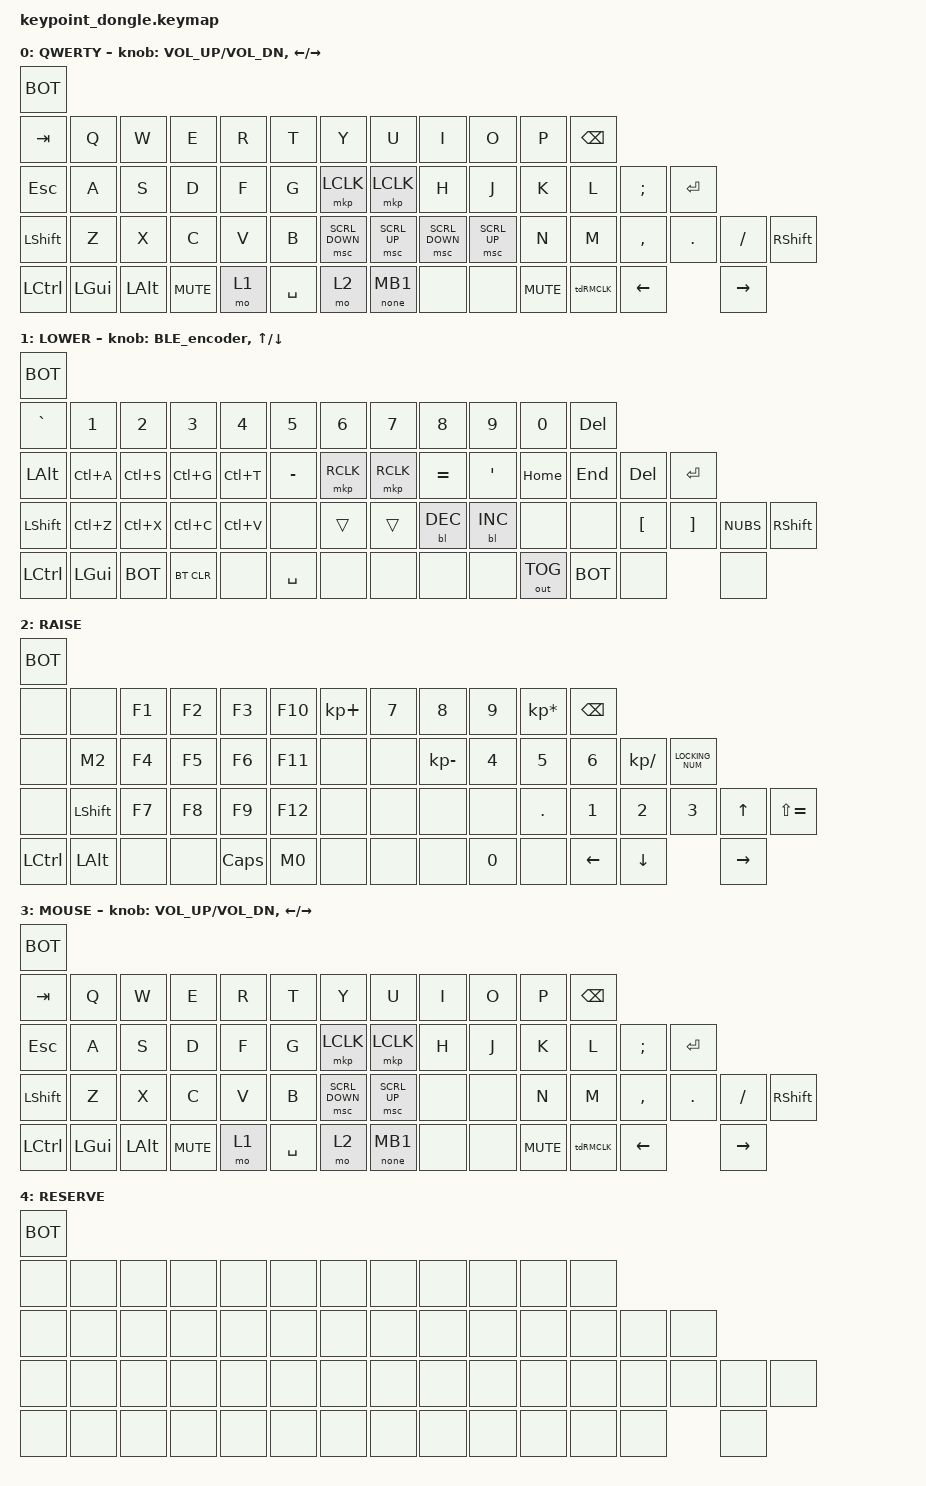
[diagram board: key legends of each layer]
/*
 * Copyright (c) 2025 ZitaoTech
 *
 * SPDX-License-Identifier: MIT
 */

#include <dt-bindings/zmk/mouse.h>
#include <behaviors/mouse_key_toggle.dtsi> // for &mktg
#include <behaviors.dtsi>
#include <dt-bindings/zmk/backlight.h>
#include <dt-bindings/zmk/bt.h>
#include <dt-bindings/zmk/keys.h>
#include <dt-bindings/zmk/outputs.h>
#include <dt-bindings/zmk/pointing.h>

#define LOWER 1
#define RAISE 2
#define MOUSE 3
#define BOT bootloader

/ {
    input_processors {
        zip_temp_layer: zip_temp_layer {
            compatible = "zmk,input-processor-temp-layer";
            #input-processor-cells = <2>;
        };

        ip_behaviors0: ip_behaviors0 {
            compatible = "zmk,input-processor-behaviors";
            #input-processor-cells = <0>;
            type = <INPUT_EV_KEY>;
            codes = <INPUT_BTN_0>;
            bindings = <&kp RIGHT>;
        };

        ip_behaviors1: ip_behaviors1 {
            compatible = "zmk,input-processor-behaviors";
            #input-processor-cells = <0>;
            type = <INPUT_EV_KEY>;
            codes = <INPUT_BTN_1>;
            bindings = <&kp LEFT>;
        };

        ip_behaviors2: ip_behaviors2 {
            compatible = "zmk,input-processor-behaviors";
            #input-processor-cells = <0>;
            type = <INPUT_EV_KEY>;
            codes = <INPUT_BTN_2>;
            bindings = <&kp DOWN>;
        };

        ip_behaviors3: ip_behaviors3 {
            compatible = "zmk,input-processor-behaviors";
            #input-processor-cells = <0>;
            type = <INPUT_EV_KEY>;
            codes = <INPUT_BTN_3>;
            bindings = <&kp UP>;
        };
    };
};

/ {
    behaviors {
        td0: tap_dance_0 {
            compatible = "zmk,behavior-tap-dance";
            #binding-cells = <0>;
            tapping-term-ms = <400>;
            bindings = <&mkp LCLK>, <&bt BT_CLR>;
        };
    };

    behaviors {
        tdRMCLK: tap_dance_R_LMouse {
            compatible = "zmk,behavior-tap-dance";
            #binding-cells = <0>;
            tapping-term-ms = <400>;
            bindings = <&mkp RCLK>, <&mkp MCLK>;
        };
    };

    behaviors {
        hm: homerow_mods {
            compatible = "zmk,behavior-hold-tap";
            #binding-cells = <2>;
            tapping-term-ms = <500>;
            bindings = <&kp &kp>;
        };
    };

    behaviors {
        LMouse_sc: behavior_LMouse_Scroll {
            compatible = "zmk,behavior-hold-tap";
            #binding-cells = <2>;
            flavor = "tap-preferred";     /* 单击优先 */
            tapping-term-ms = <200>;       /* 长按阈值 */
            bindings = <&none &mkp>;        /* hold=none, tap=Lmouse */
        };
    };

    behaviors {
        M_kp: behavior_mouse_keypress {
            compatible = "zmk,behavior-hold-tap";
            #binding-cells = <2>;
            flavor = "tap-preferred";     /* 单击优先 */
            tapping-term-ms = <200>;       /* 长按阈值 */
            bindings = <&mkp &kp>;        /* hold=mou key press, tap=key*/
        };
    };

    behaviors {
        BLE_encoder: BLE_encoder {
            compatible = "zmk,behavior-sensor-rotate";
            #sensor-binding-cells = <0>;
            bindings = <&bt BT_NXT>, <&bt BT_PRV>;
        };
    };

    macros {
        M0: M0 {
            compatible = "zmk,behavior-macro";
            #binding-cells = <0>;
            bindings = <&kp X &kp U &kp E &kp NUMBER_1 &kp NUMBER_1 &kp N9 &kp N9 &kp NUMBER_2 &kp NUMBER_4 &kp N5>;
            label = "M0";
        };

        M2: M2 {
            compatible = "zmk,behavior-macro";
            #binding-cells = <0>;
            bindings = <&kp HOME &kp ENTER &kp ENTER &kp UP_ARROW &kp UP_ARROW>;
            label = "M2";
        };
    };

    keymap {
        compatible = "zmk,keymap";

        default_layer {
            display-name = "QWERTY";
            bindings = <
&BOT
&kp TAB    &kp Q     &kp W     &kp E       &kp R  &kp T      &kp Y           &kp U             &kp I           &kp O         &kp P       &kp BSPC
&kp ESC    &kp A     &kp S     &kp D       &kp F  &kp G      &mkp LCLK       &mkp LCLK         &kp H           &kp J         &kp K       &kp L     &kp SEMI   &kp ENTER
&kp LSHFT  &kp Z     &kp X     &kp C       &kp V  &kp B      &msc SCRL_DOWN  &msc SCRL_UP      &msc SCRL_DOWN  &msc SCRL_UP  &kp N       &kp M     &kp COMMA  &kp DOT    &kp FSLH   &kp RSHFT
&kp LCTRL  &kp LGUI  &kp LALT  &kp C_MUTE  &mo 1  &kp SPACE  &mo 2           &LMouse_sc 0 MB1  &none           &none         &kp C_MUTE  &tdRMCLK  &kp LEFT              &kp RIGHT
            >;

            sensor-bindings = <&inc_dec_kp C_VOL_UP C_VOL_DN &inc_dec_kp LEFT RIGHT>;
        };

        lower_layer {
            display-name = "LOWER";
            bindings = <
&BOT
&kp GRAVE     &kp N1     &kp N2     &kp N3      &kp N4     &kp N5     &kp N6     &kp N7     &kp N8      &kp N9      &kp N0        &kp DEL
&kp LEFT_ALT  &kp LC(A)  &kp LC(S)  &kp LC(G)   &kp LC(T)  &kp MINUS  &mkp RCLK  &mkp RCLK  &kp EQUAL   &kp SQT     &kp HOME      &kp END  &kp DEL   &kp ENTER
&kp LSHFT     &kp LC(Z)  &kp LC(X)  &kp LC(C)   &kp LC(V)  &none      &trans     &trans     &bl BL_DEC  &bl BL_INC  &none         &none    &kp LBKT  &kp RBKT   &kp NUBS  &kp RSHFT
&kp LCTRL     &kp LGUI   &BOT       &bt BT_CLR  &none      &kp SPACE  &none      &none      &none       &none       &out OUT_TOG  &BOT     &none                &none
            >;

            sensor-bindings = <&BLE_encoder &inc_dec_kp UP DOWN>;
        };

        raise_layer {
            display-name = "RAISE";
            bindings = <
&BOT
&none      &none           &kp F1  &kp F2  &kp F3    &kp F10  &kp KP_PLUS  &kp N7  &kp N8        &kp N9  &kp KP_MULTIPLY  &kp BSPC
&none      &M2             &kp F4  &kp F5  &kp F6    &kp F11  &none        &none   &kp KP_MINUS  &kp N4  &kp N5           &kp N6          &kp KP_SLASH    &kp LOCKING_NUM
&none      &kp LEFT_SHIFT  &kp F7  &kp F8  &kp F9    &kp F12  &none        &none   &none         &none   &kp PERIOD       &kp N1          &kp N2          &kp N3           &kp UP_ARROW     &kp LS(EQUAL)
&kp LCTRL  &kp LEFT_ALT    &none   &none   &kp CAPS  &M0      &none        &none   &none         &kp N0  &none            &kp LEFT_ARROW  &kp DOWN_ARROW                   &kp RIGHT_ARROW
            >;
        };

        MOUSE_layer {
            display-name = "MOUSE";
            bindings = <
&BOT
&kp TAB    &kp Q     &kp W     &kp E       &kp R  &kp T      &kp Y           &kp U             &kp I  &kp O  &kp P       &kp BSPC
&kp ESC    &kp A     &kp S     &kp D       &kp F  &kp G      &mkp LCLK       &mkp LCLK         &kp H  &kp J  &kp K       &kp L     &kp SEMI   &kp ENTER
&kp LSHFT  &kp Z     &kp X     &kp C       &kp V  &kp B      &msc SCRL_DOWN  &msc SCRL_UP      &none  &none  &kp N       &kp M     &kp COMMA  &kp DOT    &kp FSLH   &kp RSHFT
&kp LCTRL  &kp LGUI  &kp LALT  &kp C_MUTE  &mo 1  &kp SPACE  &mo 2           &LMouse_sc 0 MB1  &none  &none  &kp C_MUTE  &tdRMCLK  &kp LEFT              &kp RIGHT
            >;

            sensor-bindings =
                <&inc_dec_kp C_VOL_UP C_VOL_DN>,
                <&inc_dec_kp LEFT RIGHT>;
        };

        RES_layer {
            display-name = "RESERVE";
            bindings = <
&BOT
&none  &none  &none  &none  &none  &none  &none  &none  &none  &none  &none  &none
&none  &none  &none  &none  &none  &none  &none  &none  &none  &none  &none  &none  &none  &none
&none  &none  &none  &none  &none  &none  &none  &none  &none  &none  &none  &none  &none  &none  &none  &none
&none  &none  &none  &none  &none  &none  &none  &none  &none  &none  &none  &none  &none         &none
            >;
        };
    };
};
